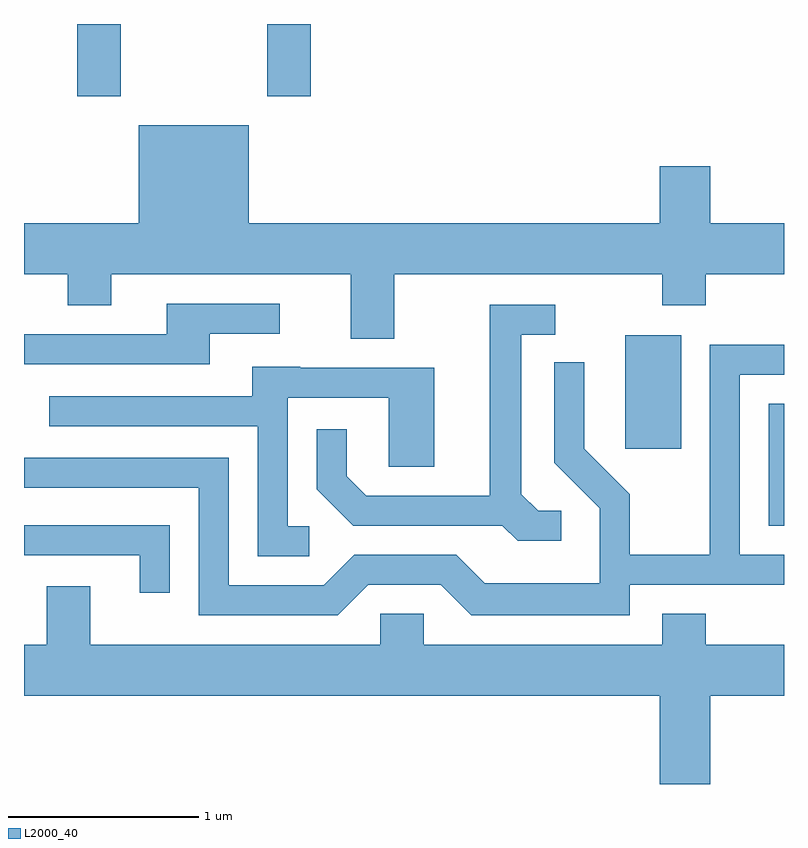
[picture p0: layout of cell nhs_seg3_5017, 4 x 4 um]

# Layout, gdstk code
import gdstk
lib = gdstk.Library(unit=1e-6, precision=1e-09)
def R(c, l, rs):  # rectangles x0, y0, x1, y1
    for r in rs: c.add(gdstk.rectangle(r[:2], r[2:], *l))
def P(c, l, *ps):  # polygons
    for p in ps: c.add(gdstk.Polygon(p, *l))
L2000_40 = (2000, 40)

nhs_seg3_5017 = lib.new_cell('nhs_seg3_5017')
R(nhs_seg3_5017, L2000_40, [(335.531,1231.251,335.611,1231.894), (334.776,1231.656,335.069,1232.254), (331.891,1233.511,332.119,1233.892), (332.891,1233.511,333.119,1233.892)])
P(nhs_seg3_5017, L2000_40, [(333.559,1232.576),(334.971,1232.576),(334.971,1232.411),(335.199,1232.411),(335.199,1232.576),(335.611,1232.576),(335.611,1232.844),(335.224,1232.844),(335.224,1233.144),(334.956,1233.144),(334.956,1232.844),(332.794,1232.844),(332.794,1233.359),(332.216,1233.359),(332.216,1232.844),(331.611,1232.844),(331.611,1232.576),(331.841,1232.576),(331.841,1232.411),(332.069,1232.411),(332.069,1232.576),(333.331,1232.576),(333.331,1232.236),(333.559,1232.236)],
  [(332.589,1232.261),(332.958,1232.261),(332.958,1232.419),(332.361,1232.419),(332.361,1232.259),(331.611,1232.259),(331.611,1232.101),(332.589,1232.101)],
  [(334.438,1231.329),(334.317,1231.329),(334.229,1231.417),(334.229,1232.256),(334.408,1232.256),(334.408,1232.414),(334.061,1232.414),(334.061,1231.409),(333.412,1231.409),(333.309,1231.512),(333.309,1231.758),(333.151,1231.758),(333.151,1231.444),(333.344,1231.251),(334.129,1231.251),(334.209,1231.171),(334.438,1231.171)],
  [(333.422,1230.941),(333.804,1230.941),(333.964,1230.781),(334.799,1230.781),(334.799,1230.941),(335.611,1230.941),(335.611,1231.099),(335.379,1231.099),(335.379,1232.046),(335.611,1232.046),(335.611,1232.204),(335.221,1232.204),(335.221,1231.099),(334.799,1231.099),(334.799,1231.417),(334.559,1231.657),(334.559,1232.113),(334.401,1232.113),(334.401,1231.584),(334.641,1231.344),(334.641,1230.949),(334.037,1230.949),(333.887,1231.099),(333.349,1231.099),(333.189,1230.939),(332.689,1230.939),(332.689,1231.609),(331.611,1231.609),(331.611,1231.451),(332.531,1231.451),(332.531,1230.781),(333.262,1230.781)],
  [(333.113,1231.249),(332.999,1231.249),(332.999,1231.926),(333.531,1231.926),(333.531,1231.561),(333.769,1231.561),(333.769,1232.084),(333.065,1232.084),(333.065,1232.089),(332.811,1232.089),(332.811,1231.934),(331.743,1231.934),(331.743,1231.776),(332.841,1231.776),(332.841,1231.091),(333.113,1231.091)],
  [(332.379,1231.254),(331.611,1231.254),(331.611,1231.096),(332.221,1231.096),(332.221,1230.898),(332.379,1230.898)],
  [(335.224,1230.356),(335.611,1230.356),(335.611,1230.624),(335.199,1230.624),(335.199,1230.789),(334.971,1230.789),(334.971,1230.624),(333.714,1230.624),(333.714,1230.789),(333.486,1230.789),(333.486,1230.624),(331.959,1230.624),(331.959,1230.934),(331.731,1230.934),(331.731,1230.624),(331.611,1230.624),(331.611,1230.356),(334.956,1230.356),(334.956,1229.892),(335.224,1229.892)])

lib.write_gds('nhs_seg3_5017.gds')
